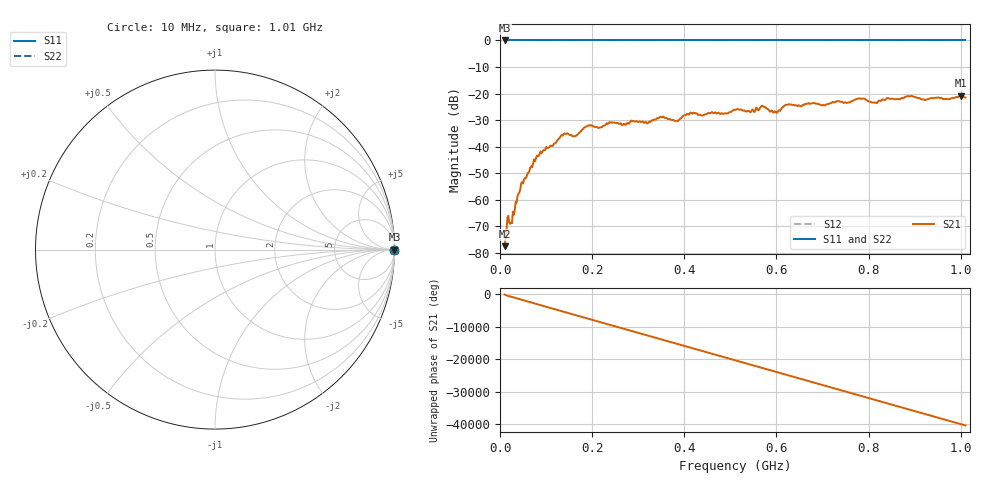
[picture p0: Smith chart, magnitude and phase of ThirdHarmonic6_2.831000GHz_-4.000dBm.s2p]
! 8/17/2025 7:32:51 AM
! C:\ANRITSUVNA\TEMP\TEMP.S2P
! CHANNEL.1
! TR.MEASUREMENT
! RAW.DATA
! RF.CORRECTION.OFF
! AVERAGING.OFF
! IF.BANDWIDTH: 5KHZ
! SWEEPTYPE:  FREQ.SWEEP(Linear)
! Reference Plane Port Info
! PORT:  PORT1  PORT2
! DISTANCE:  0  m  0  m
! TIME:  0  s  0  s
! PHASE.OFFSET:  0  deg.  0  deg.
! LOSS:  0  dB  0  dB
! REF.LOSS:  0  dB  0  dB
! REF.FREQ:  0  Hz  0  Hz
! Power Info
! POWER:  -20  dBm  -20  dBm
! EFF.POWER:  -20  dBm  -20  dBm
! SOURCE.ATTEN:  0  dB  0  dB
! TEST.ATTEN:  0  dB  0  dB
# GHZ S RI R 50.0
! FREQ.GHZ  S11RE  S11IM  S21RE  S21IM  S12RE  S12IM  S22RE  S22IM
!; PortSelection: Port_12
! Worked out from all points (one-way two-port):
!   501 points, 10 MHz to 1.01 GHz, reference 50 ohm
!   highest |S21| = -20.86 dB at 1 GHz (marker M1); lowest = -77.5 dB at 10 MHz (marker M2)
!   lowest |S11| = 0.0 dB at 10 MHz (marker M3)
!   |S11| at or under -10 dB: nowhere
!   |S22| runs from 0.0 to 0.0 dB; largest |S21 - S12| = 1.1
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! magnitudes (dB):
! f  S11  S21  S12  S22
! 10 MHz  0.0  -77.5  0.0  0.0
! 16 MHz  0.0  -66.8  0.0  0.0
! 26 MHz  0.0  -68.9  0.0  0.0
! 44 MHz  0.0  -56.1  0.0  0.0
! 78 MHz  0.0  -44.5  0.0  0.0
! 136 MHz  0.0  -35.9  0.0  0.0
! 162 MHz  0.0  -36.0  0.0  0.0
! 178 MHz  0.0  -33.7  0.0  0.0
! 344 MHz  0.0  -29.3  0.0  0.0
! 384 MHz  0.0  -30.2  0.0  0.0
! 416 MHz  0.0  -27.4  0.0  0.0
! 510 MHz  0.0  -26.1  0.0  0.0
! 548 MHz  0.0  -26.0  0.0  0.0
! 570 MHz  0.0  -24.6  0.0  0.0
! 598 MHz  0.0  -26.8  0.0  0.0
! 624 MHz  0.0  -24.2  0.0  0.0
! 678 MHz  0.0  -23.6  0.0  0.0
! 780 MHz  0.0  -21.8  0.0  0.0
! 814 MHz  0.0  -23.3  0.0  0.0
! 844 MHz  0.0  -21.9  0.0  0.0
! 1 GHz  0.0  -20.9  0.0  0.0
! 1.01 GHz  0.0  -21.5  0.0  0.0
